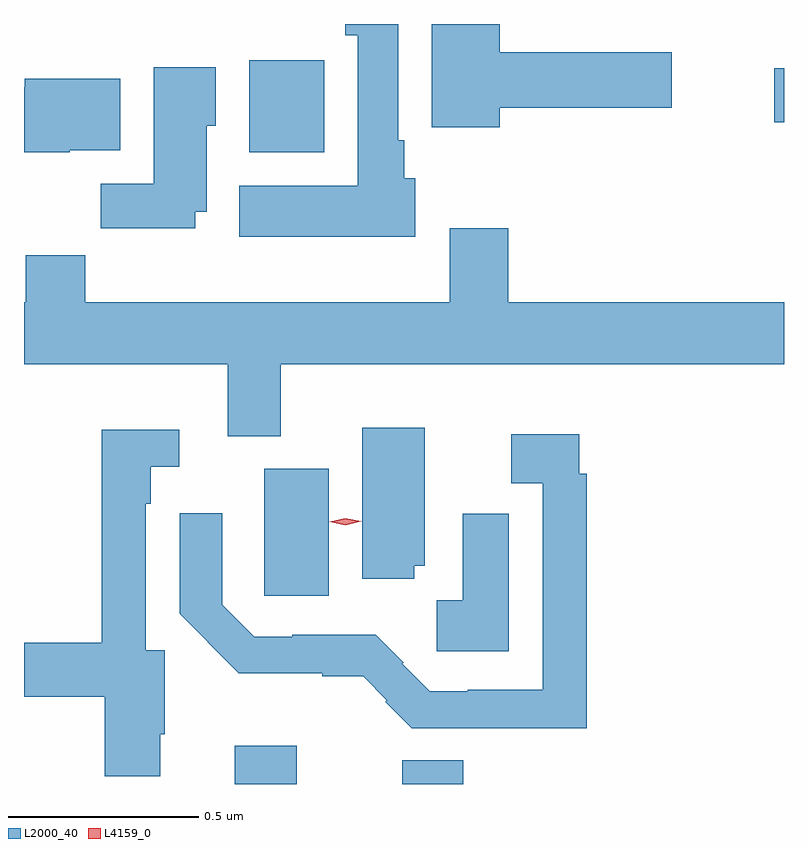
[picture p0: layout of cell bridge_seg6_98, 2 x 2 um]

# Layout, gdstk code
import gdstk
lib = gdstk.Library(unit=1e-6, precision=1e-09)
def R(c, l, rs):  # rectangles x0, y0, x1, y1
    for r in rs: c.add(gdstk.rectangle(r[:2], r[2:], *l))
def P(c, l, *ps):  # polygons
    for p in ps: c.add(gdstk.Polygon(p, *l))
L2000_40 = (2000, 40)
L4159_0 = (4159, 0)

bridge_seg6_98 = lib.new_cell('bridge_seg6_98')
R(bridge_seg6_98, L2000_40, [(660.53,970.208,660.694,970.309), (660.971,970.208,661.132,970.27), (660.608,970.704,660.778,971.038), (660.569,971.87,660.766,972.112), (661.95,971.95,661.976,972.092)])
P(bridge_seg6_98, L2000_40, [(661.006,971.802),(660.976,971.802),(660.976,971.902),(660.961,971.902),(660.961,972.208),(660.821,972.208),(660.821,972.179),(660.854,972.179),(660.854,971.782),(660.542,971.782),(660.542,971.648),(661.006,971.648)],
  [(661.228,971.987),(661.681,971.987),(661.681,972.134),(661.228,972.134),(661.228,972.208),(661.049,972.208),(661.049,971.936),(661.228,971.936)],
  [(660.427,971.714),(660.457,971.714),(660.457,971.94),(660.481,971.94),(660.481,972.094),(660.317,972.094),(660.317,971.788),(660.178,971.788),(660.178,971.67),(660.427,971.67)],
  [(660.096,971.876),(660.229,971.876),(660.229,972.064),(659.978,972.064),(659.978,972.041),(659.976,972.041),(659.976,971.87),(660.096,971.87)],
  [(660.652,971.312),(661.976,971.312),(661.976,971.476),(661.25,971.476),(661.25,971.671),(661.097,971.671),(661.097,971.476),(660.137,971.476),(660.137,971.6),(659.981,971.6),(659.981,971.476),(659.976,971.476),(659.976,971.312),(660.512,971.312),(660.512,971.123),(660.652,971.123)],
  [(661.003,970.782),(661.03,970.782),(661.03,971.146),(660.866,971.146),(660.866,970.748),(661.003,970.748)],
  [(660.334,970.339),(660.347,970.339),(660.347,970.56),(660.297,970.56),(660.297,970.946),(660.309,970.946),(660.309,971.043),(660.385,971.043),(660.385,971.14),(660.181,971.14),(660.181,970.58),(659.976,970.58),(659.976,970.438),(660.188,970.438),(660.188,970.229),(660.334,970.229)],
  [(661.457,971.024),(661.437,971.024),(661.437,971.128),(661.258,971.128),(661.258,971),(661.341,971),(661.341,970.456),(661.144,970.456),(661.144,970.452),(661.044,970.452),(660.972,970.524),(660.975,970.527),(660.901,970.601),(660.682,970.601),(660.682,970.596),(660.582,970.596),(660.498,970.68),(660.498,970.921),(660.386,970.921),(660.386,970.656),(660.46,970.582),(660.46,970.581),(660.541,970.499),(660.761,970.499),(660.761,970.491),(660.869,970.491),(660.931,970.429),(660.927,970.425),(660.997,970.355),(661.457,970.355)],
  [(661.252,970.919),(661.13,970.919),(661.13,970.691),(661.062,970.691),(661.062,970.558),(661.252,970.558)])
P(bridge_seg6_98, L4159_0, [(660.822,970.889),(660.781,970.898),(660.781,970.898),(660.781,970.898),(660.822,970.908),(660.863,970.899),(660.863,970.899),(660.863,970.899)])

lib.write_gds('bridge_seg6_98.gds')
